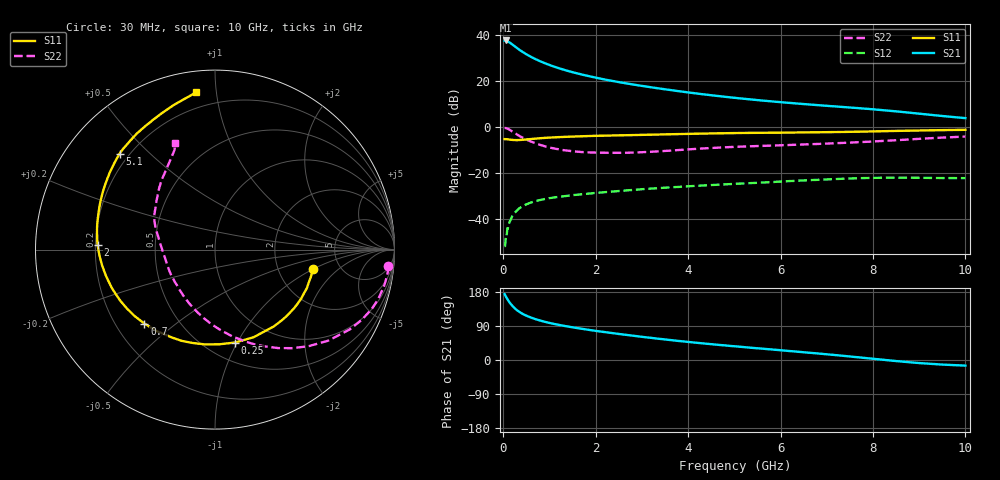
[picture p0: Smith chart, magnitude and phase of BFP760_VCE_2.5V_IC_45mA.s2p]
! Infineon Technologies  Discrete & RF Semiconductors
! BFP760
! VCE =  2.5 V,  IC =  45 mA
! Common Emitter S-Parameters:  Nov 2012
# GHz  S  MA  R  50
!  f  S11  S21  S12  S22
! GHz  MAG  ANG  MAG  ANG  MAG  ANG  MAG  ANG
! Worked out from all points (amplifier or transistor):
!   99 points, 30 MHz to 10 GHz, reference 50 ohm
!   highest |S21| = 37.8 dB at 50 MHz (marker M1)
!   |S21| within 3 dB of that: start of sweep to 279.2 MHz
!   unconditionally stable (mu >= 1): 3.76 GHz to end of sweep
!   at 350 MHz: K = 0.35, MSG = 34.5 dB, |S12| = -35.2 dB
!   at 3.5 GHz: K = 0.98, MSG = 21.4 dB, |S12| = -26.2 dB
!   at 10 GHz: K = 1.06, MAG = 11.6 dB, |S12| = -22.1 dB
!   S11 on the Smith chart (normalised r, x): 30 MHz: 3.15, -1.01; 250 MHz: 0.68, -0.98; 700 MHz: 0.32, -0.39; 2 GHz: 0.21, +0.02; 5.1 GHz: 0.16, +0.41; 10 GHz: 0.11, +0.88
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0.03  0.5561 -11.5  77.63 173.9  0.0026 87.6  0.9708 -5.4
0.05  0.5536 -18.8  77.86 169.0  0.0035 96.2  0.9672 -10.0
0.07  0.5524 -26.2  76.86 164.8  0.0043 80.1  0.9559 -14.6
0.1  0.5483 -36.7  74.06 158.7  0.0063 74.9  0.9323 -21.1
0.15  0.5388 -52.7  68.88 149.9  0.0093 68.9  0.8722 -30.7
0.2  0.5334 -66.2  63.24 142.5  0.012 65.7  0.8098 -38.8
0.25  0.5299 -77.7  58.04 136.3  0.0139 61.2  0.75 -45.8
0.3  0.5282 -87.6  53.14 131.2  0.0157 58.8  0.6988 -51.8
0.35  0.5312 -96.3  48.81 126.9  0.0174 56.4  0.6521 -57.3
0.45  0.5413 -110.1  41.87 119.9  0.02 52.4  0.5765 -66.8
0.6  0.5583 -125.7  34.29 112.0  0.0232 47.6  0.4917 -78.9
0.7  0.5696 -133.7  30.52 107.7  0.0249 45.6  0.4498 -86.0
0.9  0.5904 -146.3  24.92 100.8  0.0276 42.0  0.388 -99.0
1.1  0.606 -155.8  20.98 95.2  0.0299 40.1  0.3473 -110.3
1.7  0.6404 -175.1  14.14 82.4  0.0351 37.8  0.2904 -137.0
2  0.6544 177.8  12.12 76.9  0.0375 37.0  0.2829 -147.8
2.6  0.6737 166.3  9.288 67.2  0.0419 36.4  0.2801 -165.6
3.4  0.7006 153.5  6.964 55.6  0.048 35.2  0.3029 175.6
5.1  0.7537 134.8  4.301 35.2  0.0596 31.2  0.38 152.9
6.7  0.781 123.3  3.106 18.4  0.0716 26.1  0.4323 138.3
8.5  0.837 106.1  2.232 -2.8  0.0806 14.7  0.5251 120.9
10  0.8847 96.7  1.589 -14.8  0.0786 9.6  0.6313 110.5
